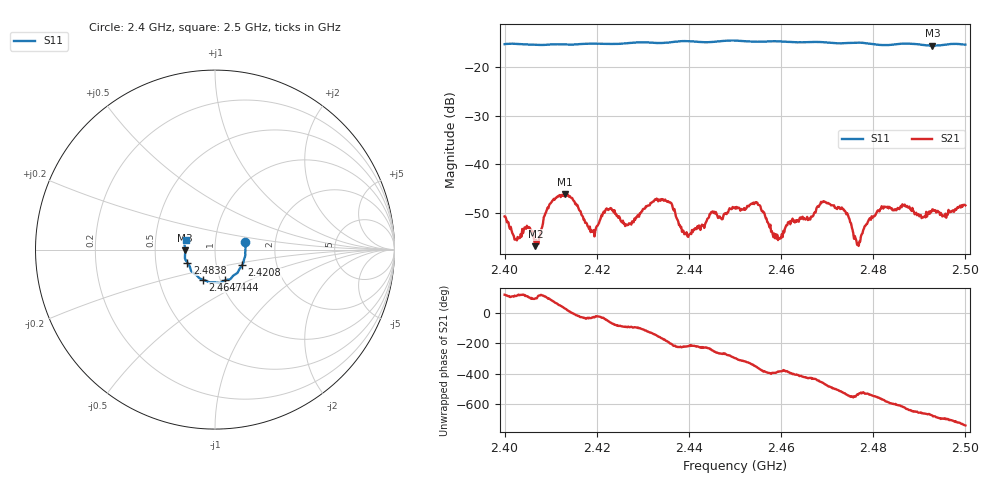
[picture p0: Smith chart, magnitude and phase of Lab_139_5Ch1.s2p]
# Hz S RI R 50
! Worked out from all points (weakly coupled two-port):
!   601 points, 2.4 GHz to 2.5 GHz, reference 50 ohm
!   highest |S21| = -46.19 dB at 2.4132 GHz (marker M1); lowest = -56.9 dB at 2.4067 GHz (marker M2)
!   lowest |S11| = -15.6 dB at 2.4928 GHz (marker M3), VSWR 1.40, Z = 35.8 - j0.349 ohm
!   |S11| at or under -10 dB: start of sweep to end of sweep
!   S12 and S22 are empty: the file has one direction only
!   S11 on the Smith chart (normalised r, x): 2.4 GHz: 1.40, +0.12; 2.4208 GHz: 1.33, -0.24; 2.444 GHz: 1.06, -0.37; 2.4647 GHz: 0.83, -0.29; 2.4838 GHz: 0.73, -0.11; 2.5 GHz: 0.72, +0.08
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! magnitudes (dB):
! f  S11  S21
! 2.4 GHz  -15.3  -50.7
! 2.4067 GHz  -15.4  -56.9
! 2.4102 GHz  -15.3  -47.8
! 2.4132 GHz  -15.3  -46.2
! 2.4167 GHz  -15.2  -50.4
! 2.4192 GHz  -15.2  -53.9
! 2.4208 GHz  -15.2  -51.2
! 2.427 GHz  -15.0  -52.1
! 2.4333 GHz  -15.0  -47.6
! 2.4395 GHz  -14.6  -54.0
! 2.444 GHz  -14.9  -51.3
! 2.45 GHz  -14.5  -48.9
! 2.455 GHz  -14.8  -48.4
! 2.4595 GHz  -14.7  -55.2
! 2.4647 GHz  -14.9  -50.8
! 2.4667 GHz  -14.8  -50.8
! 2.4732 GHz  -15.1  -48.9
! 2.4767 GHz  -15.0  -56.4
! 2.4833 GHz  -15.5  -49.1
! 2.4838 GHz  -15.4  -49.1
! 2.4928 GHz  -15.6  -49.3
! 2.5 GHz  -15.4  -48.5
